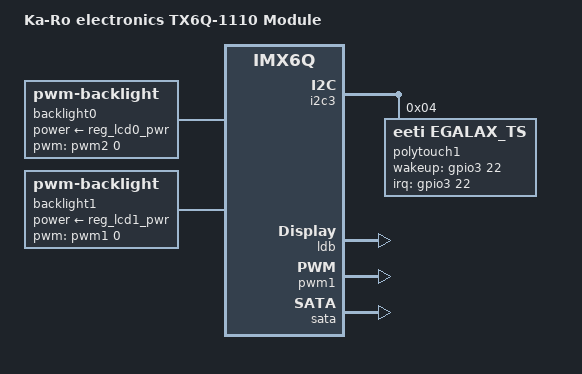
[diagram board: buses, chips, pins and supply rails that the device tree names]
/*
 * Copyright 2014 Lothar Waßmann <LW@KARO-electronics.de>
 *
 * The code contained herein is licensed under the GNU General Public
 * License. You may obtain a copy of the GNU General Public License
 * Version 2 at the following locations:
 *
 * http://www.opensource.org/licenses/gpl-license.html
 * http://www.gnu.org/copyleft/gpl.html
 */

/dts-v1/;
#include "imx6q.dtsi"
#include "imx6qdl-tx6.dtsi"

/ {
	model = "Ka-Ro electronics TX6Q-1110 Module";
	compatible = "karo,imx6q-tx6q", "fsl,imx6q";

	aliases {
		display = &lvds0;
		lvds0 = &lvds0;
		lvds1 = &lvds1;
	};

	backlight0: backlight0 {
		compatible = "pwm-backlight";
		pwms = <&pwm2 0 500000 0>;
		power-supply = <&reg_lcd0_pwr>;
		/*
		 * a poor man's way to create a 1:1 relationship between
		 * the PWM value and the actual duty cycle
		 */
		brightness-levels = < 0  1  2  3  4  5  6  7  8  9
				     10 11 12 13 14 15 16 17 18 19
				     20 21 22 23 24 25 26 27 28 29
				     30 31 32 33 34 35 36 37 38 39
				     40 41 42 43 44 45 46 47 48 49
				     50 51 52 53 54 55 56 57 58 59
				     60 61 62 63 64 65 66 67 68 69
				     70 71 72 73 74 75 76 77 78 79
				     80 81 82 83 84 85 86 87 88 89
				     90 91 92 93 94 95 96 97 98 99
				    100>;
		default-brightness-level = <50>;
	};

	backlight1: backlight1 {
		compatible = "pwm-backlight";
		pwms = <&pwm1 0 500000 0>;
		power-supply = <&reg_lcd1_pwr>;
		/*
		 * a poor man's way to create a 1:1 relationship between
		 * the PWM value and the actual duty cycle
		 */
		brightness-levels = < 0  1  2  3  4  5  6  7  8  9
				     10 11 12 13 14 15 16 17 18 19
				     20 21 22 23 24 25 26 27 28 29
				     30 31 32 33 34 35 36 37 38 39
				     40 41 42 43 44 45 46 47 48 49
				     50 51 52 53 54 55 56 57 58 59
				     60 61 62 63 64 65 66 67 68 69
				     70 71 72 73 74 75 76 77 78 79
				     80 81 82 83 84 85 86 87 88 89
				     90 91 92 93 94 95 96 97 98 99
				    100>;
		default-brightness-level = <50>;
	};
};

&i2c3 {
	polytouch1: eeti@04 {
		compatible = "eeti,egalax_ts";
		reg = <0x04>;
		pinctrl-names = "default";
		pinctrl-0 = <&pinctrl_eeti>;
		interrupt-parent = <&gpio3>;
		interrupts = <22 0>;
		wakeup-gpios = <&gpio3 22 GPIO_ACTIVE_HIGH>;
		wakeup-source;
	};
};

&iomuxc {
	imx6q-tx6q-1110 {
		pinctrl_eeti: eetigrp {
			fsl,pins = <
				MX6QDL_PAD_EIM_D22__GPIO3_IO22 0x1b0b1 /* Interrupt */
			>;
		};
	};
};

&kpp {
	status = "disabled"; /* pad conflict with backlight1 PWM */
};

&ldb {
	status = "okay";

	lvds0: lvds-channel@0 {
		fsl,data-mapping = "spwg";
		fsl,data-width = <18>;
		status = "okay";

		display-timings {
			native-mode = <&lvds_timing0>;
			lvds_timing0: hsd100pxn1 {
				clock-frequency = <65000000>;
				hactive = <1024>;
				vactive = <768>;
				hback-porch = <220>;
				hfront-porch = <40>;
				vback-porch = <21>;
				vfront-porch = <7>;
				hsync-len = <60>;
				vsync-len = <10>;
				de-active = <1>;
				pixelclk-active = <1>;
			};
		};
	};

	lvds1: lvds-channel@1 {
		fsl,data-mapping = "spwg";
		fsl,data-width = <18>;
		status = "disabled";

		display-timings {
			native-mode = <&lvds_timing1>;
			lvds_timing1: hsd100pxn1 {
				clock-frequency = <65000000>;
				hactive = <1024>;
				vactive = <768>;
				hback-porch = <220>;
				hfront-porch = <40>;
				vback-porch = <21>;
				vfront-porch = <7>;
				hsync-len = <60>;
				vsync-len = <10>;
				de-active = <1>;
				pixelclk-active = <1>;
			};
		};
	};
};

&pwm1 {
	status = "okay";
};

&sata {
	status = "okay";
};
